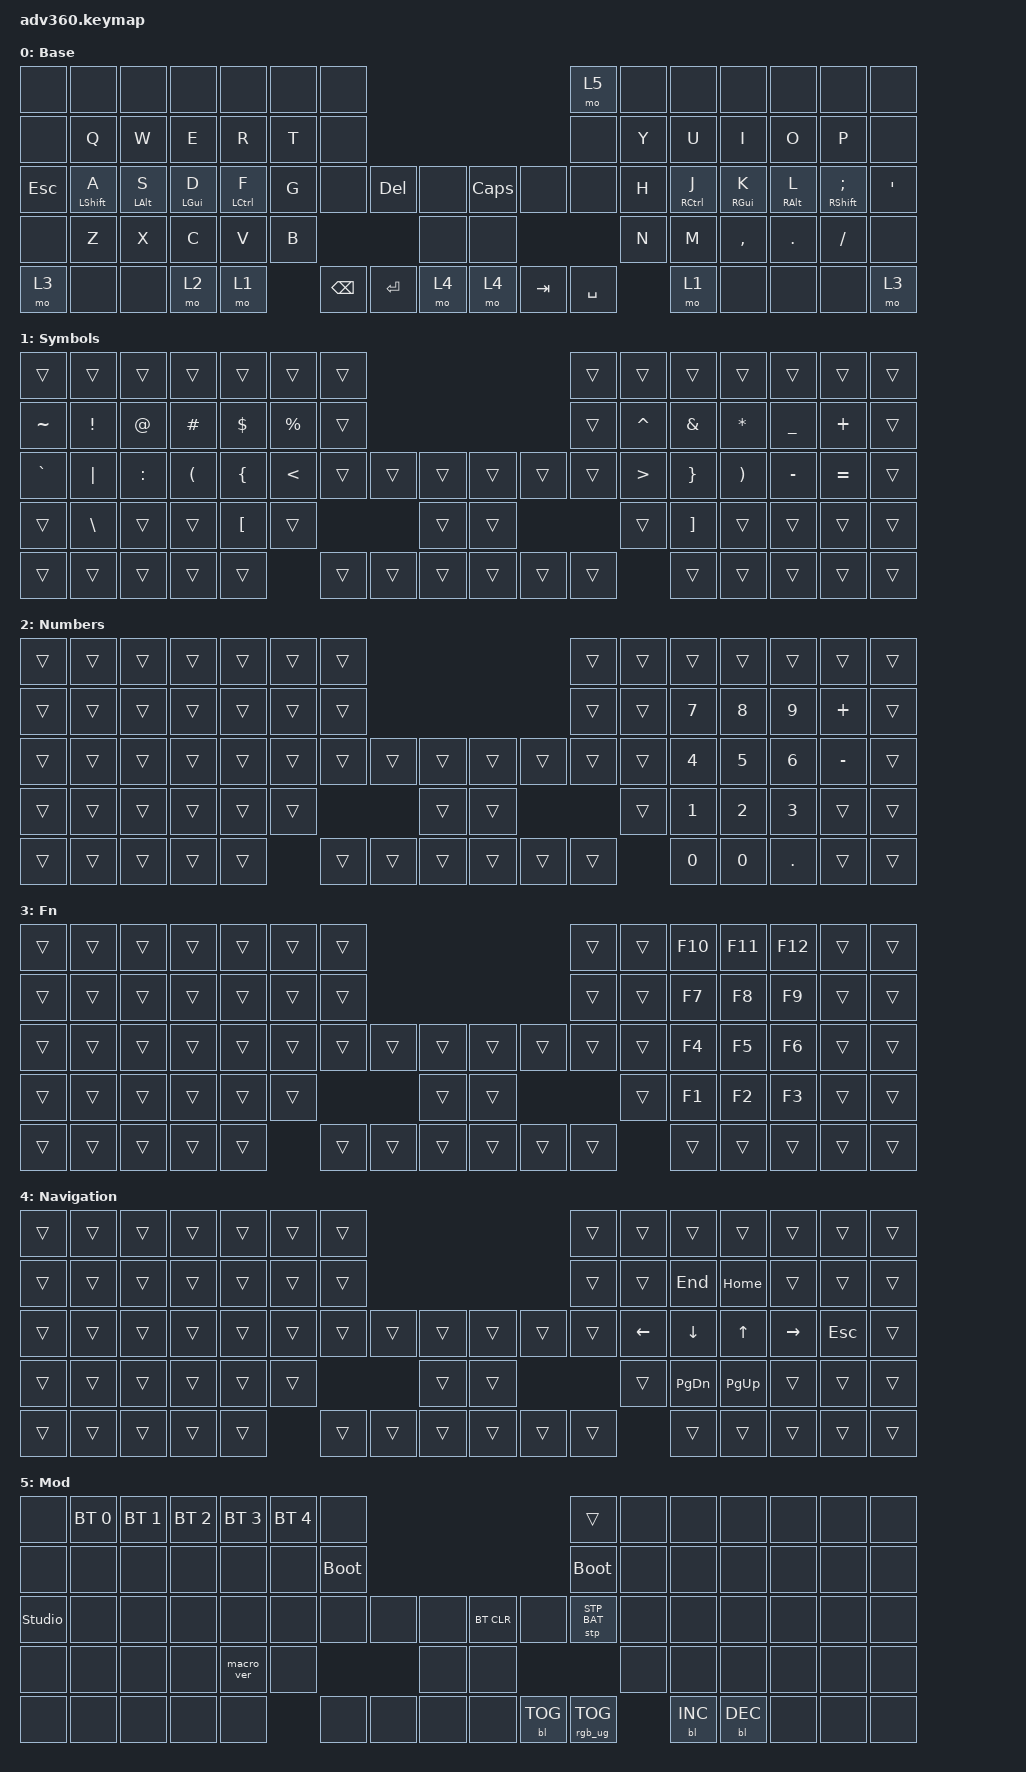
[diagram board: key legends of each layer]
#include <dt-bindings/zmk/stp.h>
#include <behaviors.dtsi>
#include <dt-bindings/zmk/backlight.h>
#include <dt-bindings/zmk/bt.h>
#include <dt-bindings/zmk/keys.h>
#include <dt-bindings/zmk/rgb.h>

/ {
    behaviors {
        #include "macros.dtsi"
      #include "version.dtsi"

        hm: homerow_mods {
            compatible = "zmk,behavior-hold-tap";
            label = "HOMEROW_MODS";
            #binding-cells = <2>;
            tapping-term-ms = <180>;
            quick_tap_ms = <175>;
            flavor = "tap-preferred";
            bindings = <&kp>, <&kp>;
        };
    };

    keymap {
        compatible = "zmk,keymap";

        Alpha {
            display-name = "Base";
            bindings = <
&none       &none        &none       &none       &none        &none  &none                                               &mo 5      &none  &none        &none       &none       &none           &none
&none       &kp Q        &kp W       &kp E       &kp R        &kp T  &none                                               &none      &kp Y  &kp U        &kp I       &kp O       &kp P           &none
&kp ESCAPE  &hm LSHFT A  &hm LALT S  &hm LGUI D  &hm LCTRL F  &kp G  &none     &kp DELETE  &none      &kp CAPS  &none    &none      &kp H  &hm RCTRL J  &hm RGUI K  &hm RALT L  &hm RSHFT SEMI  &kp SINGLE_QUOTE
&none       &kp Z        &kp X       &kp C       &kp V        &kp B                        &none      &none                         &kp N  &kp M        &kp COMMA   &kp DOT     &kp FSLH        &none
&mo 3       &none        &none       &mo 2       &mo 1               &kp BSPC  &kp ENTER   &mo 4      &mo 4     &kp TAB  &kp SPACE         &mo 1        &none       &none       &none           &mo 3
            >;
        };

        Symbols {
            bindings = <
&trans     &trans           &trans       &trans                &trans            &trans         &trans                                      &trans  &trans            &trans             &trans                 &trans          &trans     &trans
&kp TILDE  &kp EXCLAMATION  &kp AT_SIGN  &kp HASH              &kp DOLLAR        &kp PERCENT    &trans                                      &trans  &kp CARET         &kp AMPERSAND      &kp ASTERISK           &kp UNDERSCORE  &kp PLUS   &trans
&kp GRAVE  &kp PIPE         &kp COLON    &kp LEFT_PARENTHESIS  &kp LEFT_BRACE    &kp LESS_THAN  &trans  &trans  &trans      &trans  &trans  &trans  &kp GREATER_THAN  &kp RIGHT_BRACE    &kp RIGHT_PARENTHESIS  &kp MINUS       &kp EQUAL  &trans
&trans     &kp BACKSLASH    &trans       &trans                &kp LEFT_BRACKET  &trans                         &trans      &trans                  &trans            &kp RIGHT_BRACKET  &trans                 &trans          &trans     &trans
&trans     &trans           &trans       &trans                &trans                           &trans  &trans  &trans      &trans  &trans  &trans                    &trans             &trans                 &trans          &trans     &trans
            >;
        };

        Numbers {
            bindings = <
&trans  &trans  &trans  &trans  &trans  &trans  &trans                                      &trans  &trans  &trans  &trans  &trans   &trans     &trans
&trans  &trans  &trans  &trans  &trans  &trans  &trans                                      &trans  &trans  &kp N7  &kp N8  &kp N9   &kp PLUS   &trans
&trans  &trans  &trans  &trans  &trans  &trans  &trans  &trans  &trans      &trans  &trans  &trans  &trans  &kp N4  &kp N5  &kp N6   &kp MINUS  &trans
&trans  &trans  &trans  &trans  &trans  &trans                  &trans      &trans                  &trans  &kp N1  &kp N2  &kp N3   &trans     &trans
&trans  &trans  &trans  &trans  &trans          &trans  &trans  &trans      &trans  &trans  &trans          &kp N0  &kp N0  &kp DOT  &trans     &trans
            >;
        };

        fn {
            display-name = "Fn";
            bindings = <
&trans  &trans  &trans  &trans  &trans  &trans  &trans                                      &trans  &trans  &kp F10  &kp F11  &kp F12  &trans  &trans
&trans  &trans  &trans  &trans  &trans  &trans  &trans                                      &trans  &trans  &kp F7   &kp F8   &kp F9   &trans  &trans
&trans  &trans  &trans  &trans  &trans  &trans  &trans  &trans  &trans      &trans  &trans  &trans  &trans  &kp F4   &kp F5   &kp F6   &trans  &trans
&trans  &trans  &trans  &trans  &trans  &trans                  &trans      &trans                  &trans  &kp F1   &kp F2   &kp F3   &trans  &trans
&trans  &trans  &trans  &trans  &trans          &trans  &trans  &trans      &trans  &trans  &trans          &trans   &trans   &trans   &trans  &trans
            >;
        };

        Navigation {
            bindings = <
&trans  &trans  &trans  &trans  &trans  &trans  &trans                                      &trans  &trans    &trans         &trans        &trans     &trans      &trans
&trans  &trans  &trans  &trans  &trans  &trans  &trans                                      &trans  &trans    &kp END        &kp HOME      &trans     &trans      &trans
&trans  &trans  &trans  &trans  &trans  &trans  &trans  &trans  &trans      &trans  &trans  &trans  &kp LEFT  &kp DOWN       &kp UP_ARROW  &kp RIGHT  &kp ESCAPE  &trans
&trans  &trans  &trans  &trans  &trans  &trans                  &trans      &trans                  &trans    &kp PAGE_DOWN  &kp PAGE_UP   &trans     &trans      &trans
&trans  &trans  &trans  &trans  &trans          &trans  &trans  &trans      &trans  &trans  &trans            &trans         &trans        &trans     &trans      &trans
            >;
        };

        mod {
            display-name = "Mod";
            bindings = <
&none           &bt BT_SEL 0  &bt BT_SEL 1  &bt BT_SEL 2  &bt BT_SEL 3  &bt BT_SEL 4  &none                                                  &trans           &none  &none       &none       &none  &none  &none
&none           &none         &none         &none         &none         &none         &bootloader                                            &bootloader      &none  &none       &none       &none  &none  &none
&studio_unlock  &none         &none         &none         &none         &none         &none        &none  &none      &bt BT_CLR  &none       &stp STP_BAT     &none  &none       &none       &none  &none  &none
&none           &none         &none         &none         &macro_ver    &none                             &none      &none                                    &none  &none       &none       &none  &none  &none
&none           &none         &none         &none         &none                       &none        &none  &none      &none       &bl BL_TOG  &rgb_ug RGB_TOG         &bl BL_INC  &bl BL_DEC  &none  &none  &none
            >;
        };
    };
};
